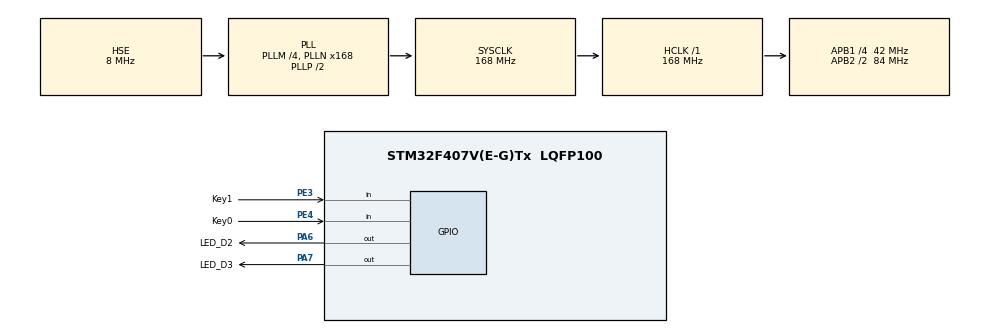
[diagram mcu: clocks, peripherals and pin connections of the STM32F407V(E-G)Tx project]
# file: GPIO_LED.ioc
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Mcu.Family=STM32F4
Mcu.Name=STM32F407V(E-G)Tx
Mcu.Package=LQFP100
NVIC.PriorityGroup=NVIC_PRIORITYGROUP_4
PA13.Mode=Serial_Wire
PA13.Signal=SYS_JTMS-SWDIO
PA14.Mode=Serial_Wire
PA14.Signal=SYS_JTCK-SWCLK
PA6.GPIO_Label=LED_D2
PA6.PinState=GPIO_PIN_SET
PA6.Signal=GPIO_Output
PA7.GPIO_Label=LED_D3
PA7.PinState=GPIO_PIN_SET
PA7.Signal=GPIO_Output
PE3.GPIO_Label=Key1
PE3.GPIO_PuPd=GPIO_PULLUP
PE3.Signal=GPIO_Input
PE4.GPIO_Label=Key0
PE4.GPIO_PuPd=GPIO_PULLUP
PE4.Signal=GPIO_Input
PH0-OSC_IN.Mode=HSE-External-Oscillator
PH0-OSC_IN.Signal=RCC_OSC_IN
PH1-OSC_OUT.Mode=HSE-External-Oscillator
PH1-OSC_OUT.Signal=RCC_OSC_OUT
ProjectManager.HeapSize=0x200
ProjectManager.StackSize=0x400
ProjectManager.TargetToolchain=MDK-ARM V5
RCC.48MHZClocksFreq_Value=84000000
RCC.AHBFreq_Value=168000000
RCC.APB1CLKDivider=RCC_HCLK_DIV4
RCC.APB1Freq_Value=42000000
RCC.APB1TimFreq_Value=84000000
RCC.APB2CLKDivider=RCC_HCLK_DIV2
RCC.APB2Freq_Value=84000000
RCC.APB2TimFreq_Value=168000000
RCC.CortexFreq_Value=168000000
RCC.HCLKFreq_Value=168000000
RCC.HSE_VALUE=8000000
RCC.HSI_VALUE=16000000
RCC.LSE_VALUE=32768
RCC.PLLM=4
RCC.PLLN=168
RCC.PLLSourceVirtual=RCC_PLLSOURCE_HSE
RCC.SYSCLKFreq_VALUE=168000000
RCC.SYSCLKSource=RCC_SYSCLKSOURCE_PLLCLK
RCC.VCOOutputFreq_Value=336000000
board=custom

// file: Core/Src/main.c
/* USER CODE BEGIN Header */
/**
  ******************************************************************************
  * @file           : main.c
  * @brief          : Main program body
  ******************************************************************************
  * @attention
  *
  * Copyright (c) 2023 STMicroelectronics.
  * All rights reserved.
  *
  * This software is licensed under terms that can be found in the LICENSE file
  * in the root directory of this software component.
  * If no LICENSE file comes with this software, it is provided AS-IS.
  *
  ******************************************************************************
  */
/* USER CODE END Header */
#include "main.h"
#include "gpio.h"

/* USER CODE BEGIN Includes */
#include <stdio.h>
/* USER CODE END Includes */

/* USER CODE BEGIN PV */
int status = 0;
/* USER CODE END PV */

void SystemClock_Config(void);

/* USER CODE BEGIN 0 */
void check_button()
{
	if (HAL_GPIO_ReadPin(Key0_GPIO_Port,Key0_Pin) == 0)
	{
		HAL_Delay(30);
		if (HAL_GPIO_ReadPin(Key0_GPIO_Port,Key0_Pin) == 0)
		{
			status = 2;
		}
	}
	if (HAL_GPIO_ReadPin(Key1_GPIO_Port,Key1_Pin) == 0)
	{
		HAL_Delay(30);
		if (HAL_GPIO_ReadPin(Key1_GPIO_Port,Key1_Pin) == 0)
		{
			status = 1;
		}
	}
}
/* USER CODE END 0 */

int main(void)
{

  /* MCU Configuration--------------------------------------------------------*/

  /* Reset of all peripherals, Initializes the Flash interface and the Systick. */
  HAL_Init();

  /* Configure the system clock */
  SystemClock_Config();

  /* Initialize all configured peripherals */
  MX_GPIO_Init();

  /* Infinite loop */
  while (1)
  {

    /* USER CODE BEGIN 3 */
		HAL_GPIO_WritePin(LED_D2_GPIO_Port,LED_D2_Pin,GPIO_PIN_RESET);
		HAL_GPIO_WritePin(LED_D2_GPIO_Port,LED_D3_Pin,GPIO_PIN_RESET);
		HAL_Delay(200);
		HAL_GPIO_WritePin(LED_D2_GPIO_Port,LED_D2_Pin,GPIO_PIN_SET);
		HAL_GPIO_WritePin(LED_D2_GPIO_Port,LED_D3_Pin,GPIO_PIN_SET);
		HAL_Delay(200);
//  check_button();
//	if (status == 1)
//	{
//		HAL_GPIO_WritePin(LED_D2_GPIO_Port,LED_D2_Pin,GPIO_PIN_RESET);
//		HAL_GPIO_WritePin(LED_D2_GPIO_Port,LED_D3_Pin,GPIO_PIN_SET);
//		HAL_Delay(500);
//		HAL_GPIO_WritePin(LED_D2_GPIO_Port,LED_D2_Pin,GPIO_PIN_SET);
//		HAL_GPIO_WritePin(LED_D2_GPIO_Port,LED_D3_Pin,GPIO_PIN_RESET);
//		HAL_Delay(500);
//	}
//	else if (status == 2)
//	{
//		HAL_GPIO_WritePin(LED_D2_GPIO_Port,LED_D2_Pin,GPIO_PIN_SET);
//		HAL_GPIO_WritePin(LED_D3_GPIO_Port,LED_D3_Pin,GPIO_PIN_SET);
//		for(int i =0; i <5;i++)
//		{
//			HAL_GPIO_TogglePin(LED_D2_GPIO_Port,LED_D2_Pin);
//			HAL_Delay(200);
//		}
//		for(int i =0; i <5;i++)
//		{
//			HAL_GPIO_TogglePin(LED_D2_GPIO_Port,LED_D3_Pin);
//			HAL_Delay(200);
//		}
//	}

	printf("HAL_RCC_GetSysClockFreq: %d Hz\n",HAL_RCC_GetSysClockFreq());
	printf("HAL_RCC_GetHCLKFreq: %d Hz\n",HAL_RCC_GetHCLKFreq());
  }
  /* USER CODE END 3 */
}

void SystemClock_Config(void)
{
  RCC_OscInitTypeDef RCC_OscInitStruct = {0};
  RCC_ClkInitTypeDef RCC_ClkInitStruct = {0};

  /** Configure the main internal regulator output voltage
  */
  __HAL_RCC_PWR_CLK_ENABLE();
  __HAL_PWR_VOLTAGESCALING_CONFIG(PWR_REGULATOR_VOLTAGE_SCALE1);

  /** Initializes the RCC Oscillators according to the specified parameters
  * in the RCC_OscInitTypeDef structure.
  */
  RCC_OscInitStruct.OscillatorType = RCC_OSCILLATORTYPE_HSE;
  RCC_OscInitStruct.HSEState = RCC_HSE_ON;
  RCC_OscInitStruct.PLL.PLLState = RCC_PLL_ON;
  RCC_OscInitStruct.PLL.PLLSource = RCC_PLLSOURCE_HSE;
  RCC_OscInitStruct.PLL.PLLM = 4;
  RCC_OscInitStruct.PLL.PLLN = 168;
  RCC_OscInitStruct.PLL.PLLP = RCC_PLLP_DIV2;
  RCC_OscInitStruct.PLL.PLLQ = 4;
  if (HAL_RCC_OscConfig(&RCC_OscInitStruct) != HAL_OK)
  {
    Error_Handler();
  }

  /** Initializes the CPU, AHB and APB buses clocks
  */
  RCC_ClkInitStruct.ClockType = RCC_CLOCKTYPE_HCLK|RCC_CLOCKTYPE_SYSCLK
                              |RCC_CLOCKTYPE_PCLK1|RCC_CLOCKTYPE_PCLK2;
  RCC_ClkInitStruct.SYSCLKSource = RCC_SYSCLKSOURCE_PLLCLK;
  RCC_ClkInitStruct.AHBCLKDivider = RCC_SYSCLK_DIV1;
  RCC_ClkInitStruct.APB1CLKDivider = RCC_HCLK_DIV4;
  RCC_ClkInitStruct.APB2CLKDivider = RCC_HCLK_DIV2;

  if (HAL_RCC_ClockConfig(&RCC_ClkInitStruct, FLASH_LATENCY_5) != HAL_OK)
  {
    Error_Handler();
  }
}

void Error_Handler(void)
{
  __disable_irq();
  while (1)
  {
  }
}
